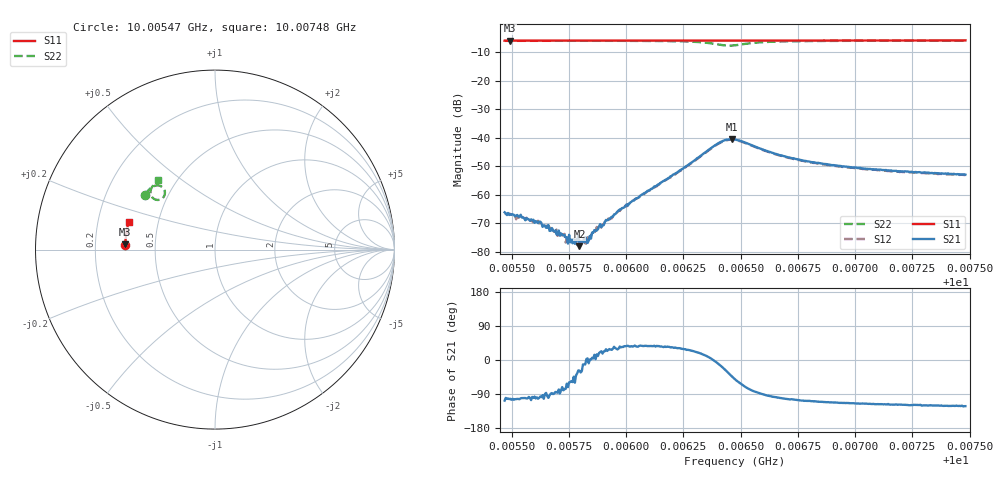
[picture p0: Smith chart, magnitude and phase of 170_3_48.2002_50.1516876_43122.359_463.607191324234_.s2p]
#  HZ  S  RI  R  50.00
! Rohde & Schwarz Vector Network Analyzer
! Rohde-Schwarz,ZNB20-2Port,1311601062101988,3.16
! Created: UTC 3/20/2024, 11:43:42 AM
! freq[Hz]  re:S11  im:S11  re:S21  im:S21  re:S12  im:S12  re:S22  im:S22
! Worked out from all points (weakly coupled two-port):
!   401 points, 10.00547 GHz to 10.00748 GHz, reference 50 ohm
!   highest |S21| = -40.49 dB at 10.00646 GHz (marker M1); lowest = -78.0 dB at 10.0058 GHz (marker M2)
!   lowest |S11| = -6.0 dB at 10.00549 GHz (marker M3), VSWR 3.00, Z = 16.7 + j1.33 ohm
!   |S11| at or under -10 dB: nowhere
!   |S22| runs from -7.8 to -6.0 dB; largest |S21 - S12| = 0.00056
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1.0005469e10  -0.4998 0.0282  -0.000147 -0.000473  -7.79e-05 -0.00046  -0.3912 0.3056
1.0005494e10  -0.4996 0.0299  -9.68e-05 -0.000439  -7.96e-05 -0.000453  -0.3901 0.3071
1.0005625e10  -0.4993 0.0383  -3.72e-05 -0.000338  -2.72e-05 -0.000332  -0.3844 0.3151
1.0005726e10  -0.4991 0.0449  3.39e-05 -0.000193  5.72e-05 -0.000193  -0.3793 0.3212
1.0005756e10  -0.4989 0.0469  7.85e-05 -0.000126  0.000105 -0.000122  -0.3776 0.3231
1.0005761e10  -0.499 0.0471  9.12e-05 -0.000134  6.49e-05 -0.000151  -0.3774 0.3235
1.0005766e10  -0.4989 0.0474  7.45e-05 -0.000121  0.000116 -0.000109  -0.3772 0.3238
1.0005796e10  -0.4987 0.0495  0.000112 -5.96e-05  0.000102 -8.11e-05  -0.3756 0.3258
1.0005806e10  -0.4987 0.05  0.000132 -7.52e-05  0.000127 -6.57e-05  -0.3751 0.3263
1.0005831e10  -0.4986 0.0517  0.000144 1.07e-05  0.000177 -3.62e-05  -0.3735 0.328
1.0005837e10  -0.4985 0.052  0.000156 -2.41e-05  0.000154 -8.75e-06  -0.3732 0.3283
1.0005862e10  -0.4984 0.0535  0.000235 5.79e-05  0.000213 4.89e-05  -0.3718 0.3301
1.0005892e10  -0.4984 0.0557  0.000251 0.000107  0.00025 0.000106  -0.3699 0.3318
1.0005972e10  -0.4978 0.0609  0.000451 0.000325  0.000435 0.000289  -0.3646 0.3373
1.0006143e10  -0.4967 0.0719  0.00124 0.000923  0.00119 0.00093  -0.3485 0.3498
1.0006395e10  -0.4939 0.088  0.00764 -0.000855  0.0075 -0.000407  -0.2815 0.3306
1.000646e10  -0.4932 0.0916  0.00697 -0.00638  0.00717 -0.00587  -0.2972 0.283
1.0006476e10  -0.4933 0.0925  0.0059 -0.00721  0.00613 -0.00677  -0.3086 0.2779
1.0006657e10  -0.4919 0.1042  -0.000749 -0.00513  -0.000509 -0.00505  -0.3595 0.3214
1.0006813e10  -0.4902 0.1141  -0.0012 -0.00355  -0.00102 -0.00353  -0.3532 0.3445
1.000715e10  -0.4854 0.1353  -0.00123 -0.00238  -0.00109 -0.00239  -0.3349 0.3706
1.0007482e10  -0.48 0.156  -0.00119 -0.00192  -0.00107 -0.00195  -0.3175 0.3886
